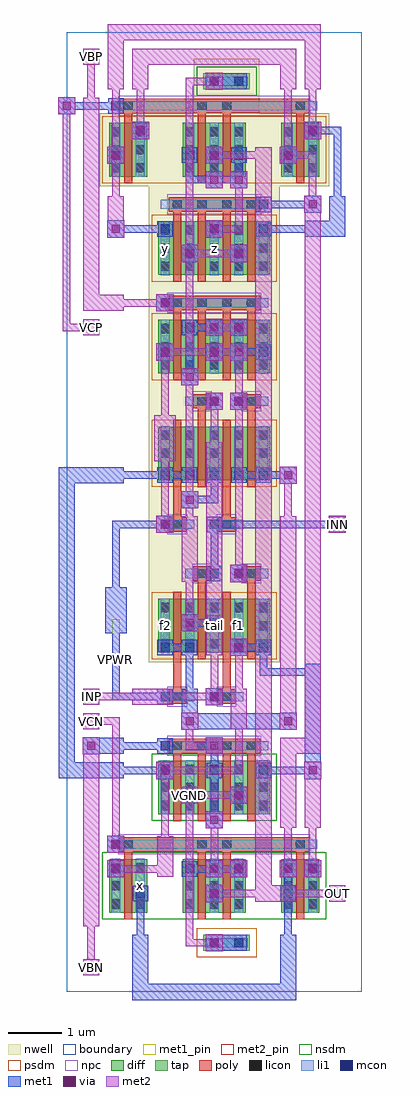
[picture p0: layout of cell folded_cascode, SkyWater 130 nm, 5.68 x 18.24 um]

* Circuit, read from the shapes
.subckt folded_cascode INN INP OUT VBN VBP VCN VCP VGND VPWR f1 f2 tail x y z
XM1 x VCN f1 VGND sky130_fd_pr__nfet_01v8 w=1 l=0.15 m=2
XM2 VGND VBN f1 VGND sky130_fd_pr__nfet_01v8 w=1 l=0.15 m=2
XM3 OUT VCN f2 VGND sky130_fd_pr__nfet_01v8 w=1 l=0.15 m=2
XM4 f2 VBN VGND VGND sky130_fd_pr__nfet_01v8 w=1 l=0.15 m=2
XM5 x VCP y VPWR sky130_fd_pr__pfet_01v8 w=1 l=0.15 m=2
XM6 f2 VPWR f2 VPWR sky130_fd_pr__pfet_01v8 w=1 l=0.15 m=2
XM7 f1 VPWR f1 VPWR sky130_fd_pr__pfet_01v8 w=1 l=0.15 m=2
XM8 tail VBP VPWR VPWR sky130_fd_pr__pfet_01v8 w=1 l=0.15 m=4
XM9 VPWR x y VPWR sky130_fd_pr__pfet_01v8 w=1 l=0.15 m=2
XM10 tail INN f2 VPWR sky130_fd_pr__pfet_01v8 w=1 l=0.15 m=2
XM11 tail INP f1 VPWR sky130_fd_pr__pfet_01v8 w=1 l=0.15 m=2
XM12 z x VPWR VPWR sky130_fd_pr__pfet_01v8 w=1 l=0.15 m=2
XM13 OUT VCP z VPWR sky130_fd_pr__pfet_01v8 w=1 l=0.15 m=2
.ends

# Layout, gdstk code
import gdstk
lib = gdstk.Library(unit=1e-6, precision=1e-09)
def R(c, l, rs):  # rectangles x0, y0, x1, y1
    for r in rs: c.add(gdstk.rectangle(r[:2], r[2:], *l))
def A(c, l, x, y, w, h, nx, ny, dx, dy):  # array of equal rectangles
    R(c, l, [(x+i*dx, y+j*dy, x+i*dx+w, y+j*dy+h) for i in range(nx) for j in range(ny)])
nwell = (64, 20)
diff = (65, 20)
tap = (65, 44)
poly = (66, 20)
licon = (66, 44)
li1 = (67, 20)
mcon = (67, 44)
met1_pin = (68, 16)
met1 = (68, 20)
via = (68, 44)
met2_pin = (69, 16)
met2 = (69, 20)
nsdm = (93, 44)
psdm = (94, 20)
npc = (95, 20)
boundary = (235, 4)

folded_cascode = lib.new_cell('folded_cascode')
R(folded_cascode, nwell, [(1.535,6.165,3.985,15.06), (0.615,15.06,4.905,16.42), (2.375,16.42,3.605,17.44)])
R(folded_cascode, diff, [(0.795,1.485,1.505,2.485), (2.175,1.485,3.345,2.485), (4.015,1.485,4.725,2.485), (1.715,3.325,3.805,4.325), (1.715,6.345,3.805,7.345), (1.715,9.565,3.805,10.565), (1.715,11.56,3.805,12.56), (1.715,13.4,3.805,14.4), (0.795,15.24,1.505,16.24), (2.175,15.24,3.345,16.24), (4.015,15.24,4.725,16.24)])
R(folded_cascode, tap, [(2.555,0.775,3.425,1.065), (2.555,16.875,3.425,17.165)])
A(folded_cascode, poly, 1.995, 3.195, 0.15, 1.405, 4, 1, 0.46, 0)
A(folded_cascode, poly, 1.995, 11.43, 0.15, 1.45, 4, 2, 0.46, 1.84)
R(folded_cascode, poly, [(1.075,1.355,1.225,2.76), (2.455,1.355,2.605,2.76), (2.915,1.355,3.065,2.76), (4.295,1.355,4.445,2.76), (0.985,2.625,4.535,2.895), (1.905,4.465,3.615,4.735), (1.905,5.385,2.235,5.655), (2.825,5.385,3.155,5.655), (1.995,5.52,2.145,7.475), (2.915,5.52,3.065,7.475), (2.455,6.215,2.605,7.82), (3.375,6.215,3.525,7.82), (2.365,7.685,2.695,7.955), (3.285,7.685,3.615,7.955), (1.905,8.605,2.235,8.875), (2.825,8.605,3.155,8.875), (1.995,8.74,2.145,10.695), (2.915,8.74,3.065,10.695), (2.455,9.435,2.605,11.04), (3.375,9.435,3.525,11.04), (2.365,10.905,2.695,11.175), (3.285,10.905,3.615,11.175), (1.905,12.745,3.615,13.015), (1.905,14.585,3.615,14.855), (1.075,15.11,1.225,16.56), (2.455,15.11,2.605,16.56), (2.915,15.11,3.065,16.56), (4.295,15.11,4.445,16.56), (0.985,16.425,4.535,16.695)])
A(folded_cascode, licon, 0.835, 1.56, 0.17, 0.17, 1, 3, 0, 0.34)
A(folded_cascode, licon, 1.295, 1.56, 0.17, 0.17, 1, 3, 0, 0.34)
A(folded_cascode, licon, 2.215, 1.56, 0.17, 0.17, 3, 3, 0.46, 0.34)
A(folded_cascode, licon, 4.055, 1.56, 0.17, 0.17, 1, 3, 0, 0.34)
A(folded_cascode, licon, 4.515, 1.56, 0.17, 0.17, 1, 3, 0, 0.34)
A(folded_cascode, licon, 1.755, 3.4, 0.17, 0.17, 5, 3, 0.46, 0.34)
A(folded_cascode, licon, 1.985, 4.515, 0.17, 0.17, 4, 2, 0.46, 8.28)
A(folded_cascode, licon, 1.755, 6.42, 0.17, 0.17, 5, 3, 0.46, 0.34)
A(folded_cascode, licon, 1.755, 9.64, 0.17, 0.17, 5, 3, 0.46, 0.34)
A(folded_cascode, licon, 1.755, 11.635, 0.17, 0.17, 5, 3, 0.46, 0.34)
A(folded_cascode, licon, 1.755, 13.475, 0.17, 0.17, 5, 3, 0.46, 0.34)
A(folded_cascode, licon, 1.985, 14.635, 0.17, 0.17, 4, 1, 0.46, 0)
A(folded_cascode, licon, 0.835, 15.315, 0.17, 0.17, 1, 3, 0, 0.34)
A(folded_cascode, licon, 1.295, 15.315, 0.17, 0.17, 1, 3, 0, 0.34)
A(folded_cascode, licon, 2.215, 15.315, 0.17, 0.17, 3, 3, 0.46, 0.34)
A(folded_cascode, licon, 4.055, 15.315, 0.17, 0.17, 1, 3, 0, 0.34)
A(folded_cascode, licon, 4.515, 15.315, 0.17, 0.17, 1, 3, 0, 0.34)
R(folded_cascode, licon, [(2.675,0.835,2.845,1.005), (3.135,0.835,3.305,1.005), (1.065,2.675,1.235,2.845), (2.445,2.675,2.615,2.845), (2.905,2.675,3.075,2.845), (4.285,2.675,4.455,2.845), (1.985,5.435,2.155,5.605), (2.905,5.435,3.075,5.605), (2.445,7.735,2.615,7.905), (3.365,7.735,3.535,7.905), (1.985,8.655,2.155,8.825), (2.905,8.655,3.075,8.825), (2.445,10.955,2.615,11.125), (3.365,10.955,3.535,11.125), (1.065,16.475,1.235,16.645), (2.445,16.475,2.615,16.645), (2.905,16.475,3.075,16.645), (4.285,16.475,4.455,16.645), (2.675,16.935,2.845,17.105), (3.135,16.935,3.305,17.105)])
A(folded_cascode, li1, 2.215, 1.48, 0.17, 1.01, 3, 2, 0.46, 13.755)
A(folded_cascode, li1, 1.755, 3.32, 0.17, 1.01, 5, 2, 0.46, 3.02)
A(folded_cascode, li1, 1.755, 9.56, 0.17, 1.01, 5, 2, 0.46, 1.995)
A(folded_cascode, li1, 1.755, 13.395, 0.17, 1.01, 5, 1, 0.46, 0)
R(folded_cascode, li1, [(2.595,0.835,3.385,1.005), (0.835,1.48,1.005,2.49), (1.295,1.48,1.465,2.49), (4.055,1.48,4.225,2.49), (4.515,1.48,4.685,2.49), (0.835,2.675,4.685,2.845), (1.755,4.515,3.765,4.685), (1.755,5.435,2.385,5.605), (2.675,5.435,3.305,5.605), (2.215,7.735,2.845,7.905), (3.135,7.735,3.765,7.905), (1.755,8.655,2.385,8.825), (2.675,8.655,3.305,8.825), (2.215,10.955,2.845,11.125), (3.135,10.955,3.765,11.125), (1.755,12.795,3.765,12.965), (1.755,14.635,3.765,14.805), (0.835,15.235,1.005,16.245), (1.295,15.235,1.465,16.245), (4.055,15.235,4.225,16.245), (4.515,15.235,4.685,16.245), (0.835,16.475,4.685,16.645), (2.595,16.935,3.385,17.105)])
A(folded_cascode, mcon, 3.135, 0.835, 0.17, 0.17, 1, 3, 0, 1.38)
A(folded_cascode, mcon, 1.295, 1.755, 0.17, 0.17, 3, 1, 1.38, 0)
A(folded_cascode, mcon, 1.755, 4.055, 0.17, 0.17, 3, 2, 0.92, 7.82)
A(folded_cascode, mcon, 1.755, 4.515, 0.17, 0.17, 1, 3, 0, 0.92)
A(folded_cascode, mcon, 2.675, 6.815, 0.17, 0.17, 1, 3, 0, 0.92)
A(folded_cascode, mcon, 1.755, 9.575, 0.17, 0.17, 5, 1, 0.46, 0)
A(folded_cascode, mcon, 3.135, 10.955, 0.17, 0.17, 1, 3, 0, 1.38)
A(folded_cascode, mcon, 1.755, 14.175, 0.17, 0.17, 3, 1, 0.92, 0)
A(folded_cascode, mcon, 2.215, 15.555, 0.17, 0.17, 3, 1, 0.46, 0)
R(folded_cascode, mcon, [(2.675,0.835,2.845,1.005), (0.835,2.215,1.005,2.385), (2.215,2.215,2.385,2.385), (4.515,2.215,4.685,2.385), (0.835,2.675,1.005,2.845), (2.215,3.595,2.385,3.765), (2.675,5.435,2.845,5.605), (2.215,6.355,2.385,6.525), (3.135,6.355,3.305,6.525), (3.595,6.355,3.765,6.525), (3.135,7.735,3.305,7.905), (1.755,8.655,1.925,8.825), (2.675,10.955,2.845,11.125), (2.215,12.335,2.385,12.505), (1.755,12.795,1.925,12.965), (2.215,13.715,2.385,13.885), (3.595,14.635,3.765,14.805), (0.835,15.555,1.005,15.725), (4.055,15.555,4.225,15.725), (1.295,16.015,1.465,16.185), (4.515,16.015,4.685,16.185), (0.835,16.475,1.005,16.645), (2.675,16.935,2.845,17.105), (3.135,16.935,3.305,17.105)])
R(folded_cascode, met1_pin, [(2.155,3.535,2.445,3.825), (0.85,5.45,0.99,6.97)])
A(folded_cascode, met1, 1.235, 1.695, 0.29, 0.29, 3, 1, 1.38, 0)
A(folded_cascode, met1, 1.695, 3.995, 0.29, 0.29, 3, 2, 0.92, 7.82)
A(folded_cascode, met1, 1.695, 4.455, 0.29, 0.29, 1, 3, 0, 0.92)
A(folded_cascode, met1, 2.14, 6.74, 0.32, 0.32, 1, 4, 0, 2.3)
A(folded_cascode, met1, 2.615, 6.755, 0.29, 0.29, 1, 3, 0, 0.92)
A(folded_cascode, met1, 1.695, 9.515, 0.29, 0.29, 5, 1, 0.46, 0)
A(folded_cascode, met1, 3.075, 10.895, 0.29, 0.29, 1, 3, 0, 1.38)
A(folded_cascode, met1, 3.06, 12.26, 0.32, 0.32, 1, 3, 0, 1.38)
A(folded_cascode, met1, 1.695, 14.115, 0.29, 0.29, 3, 1, 0.92, 0)
A(folded_cascode, met1, 2.155, 15.495, 0.29, 0.29, 3, 1, 0.46, 0)
R(folded_cascode, met1, [(1.23,-0.15,4.29,0.15), (1.23,-0.15,1.53,1.07), (3.99,-0.15,4.29,1.07), (2.6,0.76,2.92,1.08), (2.615,0.775,3.365,1.065), (1.31,0.85,1.45,1.91), (2.69,0.85,2.83,0.99), (4.07,0.85,4.21,1.91), (2.6,1.68,2.92,2), (4.07,1.77,4.21,2.37), (0.76,2.14,1.08,2.46), (2.6,2.14,2.92,2.46), (3.06,2.14,3.38,2.46), (3.98,2.14,4.3,2.46), (4.44,2.14,4.76,2.46), (0.775,2.155,1.065,2.445), (2.155,2.155,2.445,2.445), (3.075,2.155,3.365,2.445), (4.455,2.155,4.745,2.445), (2.23,2.23,2.83,2.37), (0.76,2.6,1.08,2.92), (0.775,2.615,1.065,2.905), (2.6,3.06,2.92,3.38), (2.69,3.15,2.83,4.21), (2.14,3.52,2.46,3.84), (3.06,3.52,3.38,3.84), (2.155,3.535,2.445,3.825), (3.075,3.535,3.365,3.825), (1.68,3.98,2,4.3), (4.44,3.98,4.76,4.3), (-0.15,3.99,0.15,9.81), (-0.15,3.99,1.07,4.29), (4.45,3.99,4.75,6.13), (0.85,4.07,1.91,4.21), (2.69,4.07,2.83,4.67), (3.61,4.07,4.67,4.21), (0.3,4.44,0.62,4.76), (2.6,4.44,2.92,4.76), (0.31,4.45,1.07,4.75), (0.85,4.53,1.91,4.67), (2.14,4.9,2.46,5.22), (3.98,4.9,4.3,5.22), (2.15,4.91,4.29,5.21), (2.15,4.91,2.45,5.67), (2.6,5.36,2.92,5.68), (2.615,5.375,2.905,5.665), (0.85,5.45,0.99,6.97), (0.85,5.45,1.91,5.59), (2.23,5.45,2.37,6.51), (3.61,5.91,3.75,6.51), (3.61,5.91,4.67,6.05), (3.06,6.28,3.38,6.6), (2.155,6.295,2.445,6.585), (3.075,6.295,3.365,6.585), (3.535,6.295,3.825,6.585), (1.77,6.37,2.37,6.51), (3.15,6.37,3.75,6.51), (0.72,6.7,1.12,7.56), (2.23,6.83,2.83,6.97), (0.85,7.29,0.99,8.81), (3.06,7.66,3.38,7.98), (3.075,7.675,3.365,7.965), (2.69,7.75,2.83,8.81), (1.68,8.58,2,8.9), (4.9,8.58,5.22,8.9), (1.695,8.595,1.985,8.885), (0.85,8.67,1.91,8.81), (2.69,8.67,5.13,8.81), (2.23,9.13,2.83,9.27), (2.69,9.13,2.83,9.73), (3.98,9.5,4.3,9.82), (-0.15,9.51,1.07,9.81), (0.85,9.59,1.91,9.73), (1.77,9.59,2.37,9.73), (3.15,9.59,3.75,9.73), (3.61,9.59,4.21,9.73), (2.6,10.88,2.92,11.2), (3.06,10.88,3.38,11.2), (2.615,10.895,2.905,11.185), (2.23,11.43,2.37,12.49), (1.68,11.8,2,12.12), (2.6,11.8,2.92,12.12), (3.06,11.8,3.38,12.12), (3.15,11.89,3.75,12.03), (2.6,12.26,2.92,12.58), (2.155,12.275,2.445,12.565), (2.23,12.35,2.83,12.49), (1.68,12.72,2,13.04), (1.695,12.735,1.985,13.025), (2.155,13.655,2.445,13.945), (0.76,14.1,1.08,14.42), (2.6,14.1,2.92,14.42), (4.45,14.11,5.21,14.41), (4.91,14.11,5.21,14.87), (0.85,14.19,1.91,14.33), (3.61,14.19,4.67,14.33), (4.44,14.56,4.76,14.88), (3.535,14.575,3.825,14.865), (3.61,14.65,4.67,14.79), (4.99,14.65,5.13,16.17), (2.6,15.02,2.92,15.34), (2.23,15.11,2.83,15.25), (2.23,15.11,2.37,15.71), (3.15,15.11,3.29,15.71), (0.76,15.48,1.08,15.8), (2.6,15.48,2.92,15.8), (3.98,15.48,4.3,15.8), (0.775,15.495,1.065,15.785), (3.995,15.495,4.285,15.785), (1.22,15.94,1.54,16.26), (4.44,15.94,4.76,16.26), (1.235,15.955,1.525,16.245), (4.455,15.955,4.745,16.245), (4.53,16.03,5.13,16.17), (-0.16,16.4,0.16,16.72), (0.775,16.415,1.065,16.705), (-0.07,16.49,0.99,16.63), (2.6,16.86,2.92,17.18), (2.615,16.875,3.365,17.165), (2.69,16.95,2.83,17.09)])
A(folded_cascode, via, 2.225, 6.825, 0.15, 0.15, 1, 4, 0, 2.3)
A(folded_cascode, via, 3.145, 12.345, 0.15, 0.15, 1, 3, 0, 1.38)
R(folded_cascode, via, [(2.685,0.845,2.835,0.995), (2.685,1.765,2.835,1.915), (0.845,2.225,0.995,2.375), (2.685,2.225,2.835,2.375), (3.145,2.225,3.295,2.375), (4.065,2.225,4.215,2.375), (4.525,2.225,4.675,2.375), (0.845,2.685,0.995,2.835), (2.685,3.145,2.835,3.295), (2.225,3.605,2.375,3.755), (3.145,3.605,3.295,3.755), (1.765,4.065,1.915,4.215), (4.525,4.065,4.675,4.215), (0.385,4.525,0.535,4.675), (2.685,4.525,2.835,4.675), (2.225,4.985,2.375,5.135), (4.065,4.985,4.215,5.135), (2.685,5.445,2.835,5.595), (3.145,6.365,3.295,6.515), (3.145,7.745,3.295,7.895), (1.765,8.665,1.915,8.815), (4.985,8.665,5.135,8.815), (4.065,9.585,4.215,9.735), (2.685,10.965,2.835,11.115), (3.145,10.965,3.295,11.115), (1.765,11.885,1.915,12.035), (2.685,11.885,2.835,12.035), (3.145,11.885,3.295,12.035), (2.685,12.345,2.835,12.495), (1.765,12.805,1.915,12.955), (0.845,14.185,0.995,14.335), (2.685,14.185,2.835,14.335), (4.525,14.645,4.675,14.795), (2.685,15.105,2.835,15.255), (0.845,15.565,0.995,15.715), (2.685,15.565,2.835,15.715), (4.065,15.565,4.215,15.715), (1.305,16.025,1.455,16.175), (4.525,16.025,4.675,16.175), (-0.075,16.485,0.075,16.635), (2.685,16.945,2.835,17.095)])
R(folded_cascode, met2_pin, [(0.31,0.31,0.61,0.61), (4.91,1.69,5.21,1.99), (0.31,4.91,0.61,5.21), (0.31,5.37,0.61,5.67), (4.91,8.59,5.21,8.89), (0.31,12.27,0.61,12.57), (0.31,17.33,0.61,17.63)])
A(folded_cascode, met2, 2.14, 6.74, 0.32, 0.32, 1, 4, 0, 2.3)
A(folded_cascode, met2, 3.06, 12.26, 0.32, 0.32, 1, 3, 0, 1.38)
R(folded_cascode, met2, [(0.31,0.31,0.61,0.61), (0.39,0.39,0.53,1.45), (0.39,0.39,0.53,0.53), (2.6,0.76,2.92,1.08), (2.23,0.85,2.83,0.99), (2.23,0.85,2.37,3.75), (0.31,1.23,0.61,4.75), (2.6,1.68,2.92,2), (3.53,1.69,3.83,15.79), (3.53,1.69,4.29,1.99), (4.91,1.69,5.21,1.99), (2.69,1.77,3.75,1.91), (4.07,1.77,5.13,1.91), (4.99,1.77,5.13,1.91), (0.76,2.14,1.08,2.46), (2.6,2.14,2.92,2.46), (3.06,2.14,3.38,2.46), (3.98,2.14,4.3,2.46), (4.44,2.14,4.76,2.46), (1.69,2.15,1.99,2.91), (0.85,2.23,1.91,2.37), (2.69,2.23,3.29,2.37), (2.69,2.23,2.83,3.29), (4.07,2.23,4.21,3.29), (4.53,2.23,4.67,3.29), (0.76,2.6,1.08,2.92), (0.85,2.69,0.99,5.13), (1.77,2.69,1.91,4.21), (2.6,3.06,2.92,3.38), (3.99,3.07,4.29,4.75), (4.45,3.07,4.75,4.29), (2.14,3.52,2.46,3.84), (3.06,3.52,3.38,3.84), (2.23,3.61,3.29,3.75), (1.68,3.98,2,4.3), (4.44,3.98,4.76,4.3), (1.77,4.07,3.29,4.21), (3.15,4.07,3.29,5.13), (0.3,4.44,0.62,4.76), (2.6,4.44,2.92,4.76), (3.99,4.45,4.75,4.75), (4.45,4.45,4.75,14.87), (2.23,4.53,2.83,4.67), (2.23,4.53,2.37,5.13), (2.14,4.9,2.46,5.22), (3.98,4.9,4.3,5.22), (0.31,4.91,0.61,5.21), (3.07,4.91,3.37,5.67), (3.99,4.91,4.29,8.89), (0.39,4.99,0.99,5.13), (0.39,4.99,0.53,5.13), (2.6,5.36,2.92,5.68), (0.31,5.37,0.61,5.67), (1.23,5.37,1.99,5.67), (0.39,5.45,1.45,5.59), (0.39,5.45,0.53,5.59), (1.77,5.45,2.83,5.59), (2.69,5.45,2.83,6.51), (3.15,5.45,3.29,6.51), (3.06,6.28,3.38,6.6), (2.61,6.29,2.91,10.27), (2.23,6.83,2.37,7.89), (3.06,7.66,3.38,7.98), (2.15,7.67,2.45,8.89), (3.15,7.75,3.29,11.11), (1.68,8.58,2,8.9), (4.9,8.58,5.22,8.9), (4.91,8.59,5.21,8.89), (1.77,8.67,1.91,10.19), (2.23,8.67,2.37,9.27), (4.07,8.67,4.21,9.73), (4.99,8.67,5.13,8.81), (2.23,9.13,2.37,11.57), (3.98,9.5,4.3,9.82), (1.64,9.92,2.04,10.78), (2.69,10.05,2.83,11.11), (1.77,10.51,1.91,12.03), (2.6,10.88,2.92,11.2), (3.06,10.88,3.38,11.2), (3.15,10.97,3.29,12.03), (1.68,11.8,2,12.12), (2.6,11.8,2.92,12.12), (3.06,11.8,3.38,12.12), (1.77,11.89,2.83,12.03), (2.23,11.89,2.37,13.87), (2.69,11.89,3.29,12.03), (2.6,12.26,2.92,12.58), (0.31,12.27,0.61,12.57), (-0.07,12.35,0.53,12.49), (-0.07,12.35,0.07,16.63), (0.39,12.35,0.53,12.49), (2.69,12.35,3.29,12.49), (1.68,12.72,2,13.04), (0.31,12.73,0.61,16.71), (0.31,12.73,1.07,13.03), (0.85,12.81,1.91,12.95), (2.23,13.73,3.29,13.87), (2.23,13.73,2.37,17.09), (0.76,14.1,1.08,14.42), (2.6,14.1,2.92,14.42), (0.77,14.11,1.07,14.87), (2.69,14.19,3.29,14.33), (3.15,14.19,3.29,15.25), (4.44,14.56,4.76,14.88), (0.85,14.65,0.99,15.71), (4.53,14.65,4.67,15.71), (2.6,15.02,2.92,15.34), (2.69,15.11,3.29,15.25), (0.76,15.48,1.08,15.8), (2.6,15.48,2.92,15.8), (3.98,15.48,4.3,15.8), (0.85,15.57,0.99,17.09), (2.69,15.57,3.75,15.71), (4.07,15.57,4.21,17.09), (4.07,15.57,4.67,15.71), (1.22,15.94,1.54,16.26), (4.44,15.94,4.76,16.26), (1.31,16.03,1.45,17.09), (4.53,16.03,4.67,17.09), (-0.16,16.4,0.16,16.72), (0.39,16.49,0.53,17.55), (2.6,16.86,2.92,17.18), (0.77,16.87,1.07,18.09), (1.23,16.87,1.53,17.63), (3.99,16.87,4.29,17.63), (4.45,16.87,4.75,18.09), (2.23,16.95,2.83,17.09), (0.31,17.33,0.61,17.63), (1.23,17.33,4.29,17.63), (0.39,17.41,0.53,17.55), (0.77,17.79,4.75,18.09)])
R(folded_cascode, nsdm, [(0.67,1.36,4.85,2.61), (1.59,3.2,3.93,4.45), (2.43,16.75,3.55,17.29)])
R(folded_cascode, psdm, [(2.43,0.65,3.55,1.19), (1.59,6.22,3.93,7.47), (1.59,9.44,3.93,10.69), (1.59,11.435,3.93,12.685), (1.59,13.275,3.93,14.525), (0.67,15.115,4.85,16.365)])
R(folded_cascode, npc, [(0.965,2.575,4.555,2.945), (1.885,4.415,3.635,4.785), (1.885,5.335,2.255,5.705), (2.805,5.335,3.175,5.705), (2.345,7.635,2.715,8.005), (3.265,7.635,3.635,8.005), (1.885,8.555,2.255,8.925), (2.805,8.555,3.175,8.925), (2.345,10.855,2.715,11.225), (3.265,10.855,3.635,11.225), (1.885,12.695,3.635,13.065), (1.885,14.535,3.635,14.905), (0.965,16.375,4.555,16.745)])
R(folded_cascode, boundary, [(0,0,5.52,17.94)])
folded_cascode.add(gdstk.Label('f2', (1.84,6.845), layer=67, texttype=5))
folded_cascode.add(gdstk.Label('tail', (2.76,6.845), layer=67, texttype=5))
folded_cascode.add(gdstk.Label('f1', (3.22,6.845), layer=67, texttype=5))
folded_cascode.add(gdstk.Label('x', (1.38,1.985), layer=67, texttype=5))
folded_cascode.add(gdstk.Label('y', (1.84,13.9), layer=67, texttype=5))
folded_cascode.add(gdstk.Label('z', (2.76,13.9), layer=67, texttype=5))
folded_cascode.add(gdstk.Label('VPWR', (0.92,6.21), layer=68, texttype=5))
folded_cascode.add(gdstk.Label('VGND', (2.3,3.68), layer=68, texttype=5))
folded_cascode.add(gdstk.Label('INP', (0.46,5.52), layer=69, texttype=5))
folded_cascode.add(gdstk.Label('INN', (5.06,8.74), layer=69, texttype=5))
folded_cascode.add(gdstk.Label('VBP', (0.46,17.48), layer=69, texttype=5))
folded_cascode.add(gdstk.Label('VBN', (0.46,0.46), layer=69, texttype=5))
folded_cascode.add(gdstk.Label('VCN', (0.46,5.06), layer=69, texttype=5))
folded_cascode.add(gdstk.Label('VCP', (0.46,12.42), layer=69, texttype=5))
folded_cascode.add(gdstk.Label('OUT', (5.06,1.84), layer=69, texttype=5))
folded_cascode.add(gdstk.Label('VPWR', (0.92,6.21), layer=68, texttype=16))
folded_cascode.add(gdstk.Label('VGND', (2.3,3.68), layer=68, texttype=16))
folded_cascode.add(gdstk.Label('INP', (0.46,5.52), layer=69, texttype=16))
folded_cascode.add(gdstk.Label('INN', (5.06,8.74), layer=69, texttype=16))
folded_cascode.add(gdstk.Label('VBP', (0.46,17.48), layer=69, texttype=16))
folded_cascode.add(gdstk.Label('VBN', (0.46,0.46), layer=69, texttype=16))
folded_cascode.add(gdstk.Label('VCN', (0.46,5.06), layer=69, texttype=16))
folded_cascode.add(gdstk.Label('VCP', (0.46,12.42), layer=69, texttype=16))
folded_cascode.add(gdstk.Label('OUT', (5.06,1.84), layer=69, texttype=16))

lib.write_gds('folded_cascode.gds')
